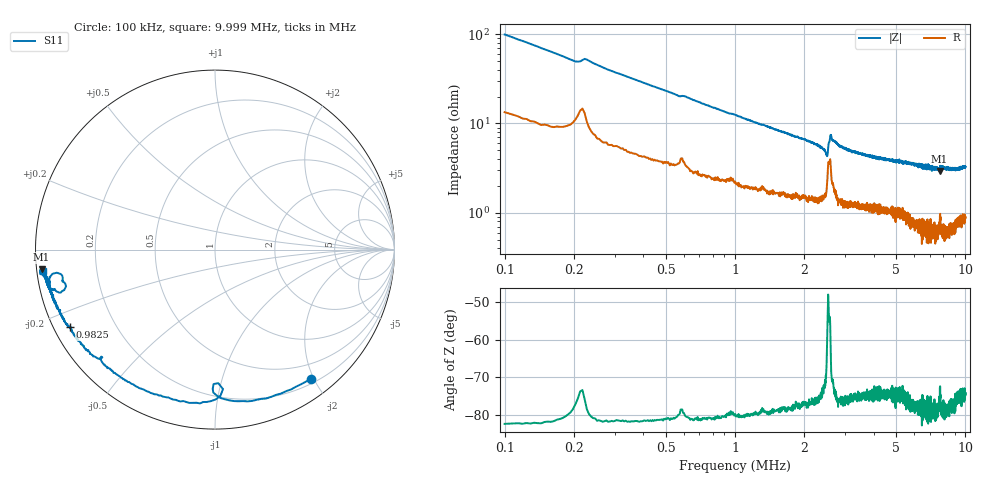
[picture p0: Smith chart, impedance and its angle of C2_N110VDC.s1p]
# HZ S RI R 50
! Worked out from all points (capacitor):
!   2020 points, 100 kHz to 9.999 MHz, reference 50 ohm
!   read as one part to ground: C = 14.6 nF near 149 kHz
!   lowest |Z| = 2.93 ohm at 7.724 MHz (marker M1)
!   S11 on the Smith chart (normalised r, x): 100 kHz: 0.27, -1.96; 982.5 kHz: 0.05, -0.25; 9.999 MHz: 0.02, -0.06
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100000  0.5356 -0.7191
124515  0.397 -0.7883
153933  0.2323 -0.8368
173545  0.1307 -0.8449
232381  0.0051 -0.834
281411  -0.1937 -0.8457
330441  -0.3133 -0.8131
428501  -0.4938 -0.7297
526561  -0.5995 -0.6541
698166  -0.7167 -0.5579
825644  -0.7734 -0.4926
982540  -0.8076 -0.4321
1340459  -0.869 -0.3394
1791535  -0.9055 -0.2649
2335768  -0.9243 -0.2045
2463246  -0.9264 -0.1739
2507373  -0.9108 -0.1427
2541694  -0.8514 -0.1454
2576015  -0.8452 -0.1811
2644657  -0.8932 -0.2234
2816262  -0.9267 -0.206
3816474  -0.9468 -0.1593
5052030  -0.9529 -0.1365
6287586  -0.9638 -0.1302
7528045  -0.9702 -0.1231
7724165  -0.9663 -0.1106
8763601  -0.9663 -0.1171
9999157  -0.9578 -0.1202
